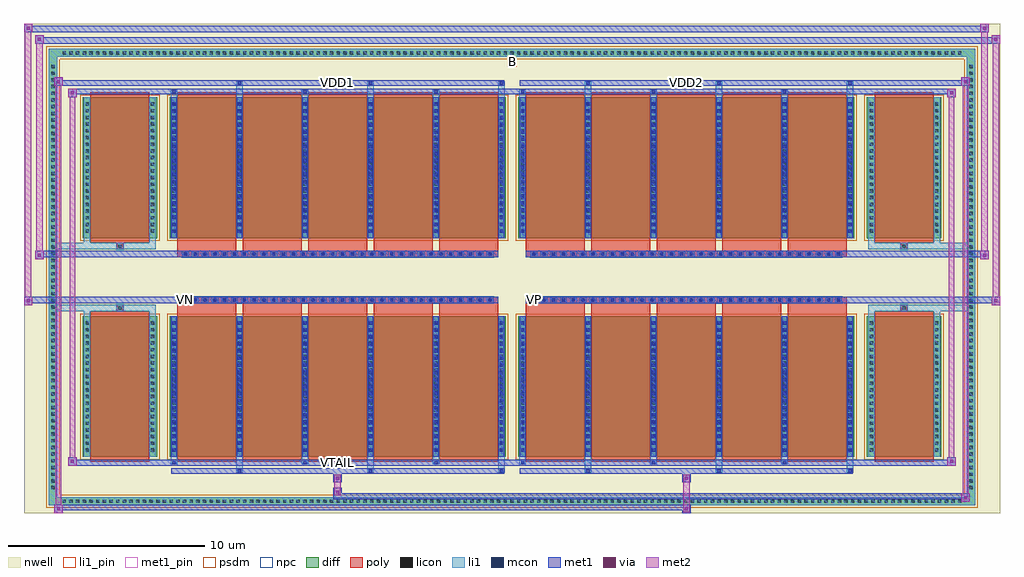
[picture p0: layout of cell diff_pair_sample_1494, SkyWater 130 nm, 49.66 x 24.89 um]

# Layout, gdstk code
import gdstk
lib = gdstk.Library(unit=1e-6, precision=5e-09)
def R(c, l, rs):  # rectangles x0, y0, x1, y1
    for r in rs: c.add(gdstk.rectangle(r[:2], r[2:], *l))
def A(c, l, x, y, w, h, nx, ny, dx, dy):  # array of equal rectangles
    R(c, l, [(x+i*dx, y+j*dy, x+i*dx+w, y+j*dy+h) for i in range(nx) for j in range(ny)])
def P(c, l, *ps):  # polygons
    for p in ps: c.add(gdstk.Polygon(p, *l))
nwell = (64, 20)
diff = (65, 20)
poly = (66, 20)
licon = (66, 44)
li1_pin = (67, 16)
li1 = (67, 20)
mcon = (67, 44)
met1_pin = (68, 16)
met1 = (68, 20)
via = (68, 44)
met2 = (69, 20)
psdm = (94, 20)
npc = (95, 20)

diff_pair_sample_1494 = lib.new_cell('diff_pair_sample_1494')
R(diff_pair_sample_1494, nwell, [(-24.83,-12.01,24.83,12.88), (-22.15,-10.2,-0.01,-0.8), (0.01,-10.2,22.15,-0.8), (-22.15,0.8,-0.01,10.2), (0.01,0.8,22.15,10.2)])
A(diff_pair_sample_1494, diff, -22.985, -11.61, 0.41, 0.41, 135, 2, 0.34, 22.81)
A(diff_pair_sample_1494, diff, -23.56, -10.915, 0.41, 0.41, 1, 64, 0, 0.34)
A(diff_pair_sample_1494, diff, 23.15, -10.915, 0.41, 0.41, 1, 64, 0, 0.34)
R(diff_pair_sample_1494, diff, [(-22.985,-11.61,22.985,-11.2), (-23.56,-10.915,-23.15,10.915), (23.15,-10.915,23.56,10.915), (-21.84,-9.155,-18.06,-1.985), (-17.42,-9.155,-0.32,-1.985), (0.32,-9.155,17.42,-1.985), (18.06,-9.155,21.84,-1.985), (-21.84,1.985,-18.06,9.155), (-17.42,1.985,-0.32,9.155), (0.32,1.985,17.42,9.155), (18.06,1.985,21.84,9.155), (-22.985,11.2,22.985,11.61)])
P(diff_pair_sample_1494, diff, [(23.56,11.61),(-23.56,11.61),(-23.56,-11.2),(-23.15,-11.2),(-23.15,11.2),(23.15,11.2),(23.15,-11.2),(-23.15,-11.2),(-23.56,-11.2),(-23.56,-11.61),(23.56,-11.61)])
A(diff_pair_sample_1494, poly, -17.03, -9.405, 3, 7.67, 5, 2, 3.33, 11.14)
A(diff_pair_sample_1494, poly, 0.71, -9.405, 3, 7.67, 5, 2, 3.33, 11.14)
A(diff_pair_sample_1494, poly, -17.03, -1.735, 3, 0.405, 5, 2, 3.33, 3.065)
A(diff_pair_sample_1494, poly, 0.71, -1.735, 3, 0.405, 5, 2, 3.33, 3.065)
A(diff_pair_sample_1494, poly, -16.785, -1.33, 0.33, 0.33, 32, 2, 0.5, 2.33)
A(diff_pair_sample_1494, poly, 0.955, -1.33, 0.33, 0.33, 32, 2, 0.5, 2.33)
R(diff_pair_sample_1494, poly, [(-21.45,-9.405,-18.45,-1.735), (18.45,-9.405,21.45,-1.735), (-20.115,-1.735,-19.785,-1.405), (-20.115,-1.735,-19.785,-1.405), (19.785,-1.735,20.115,-1.405), (19.785,-1.735,20.115,-1.405), (-17.03,-1.33,-0.71,-1), (0.71,-1.33,17.03,-1), (-17.03,1,-0.71,1.33), (0.71,1,17.03,1.33), (-20.115,1.405,-19.785,1.735), (-20.115,1.405,-19.785,1.735), (19.785,1.405,20.115,1.735), (19.785,1.405,20.115,1.735), (-21.45,1.735,-18.45,9.405), (18.45,1.735,21.45,9.405)])
A(diff_pair_sample_1494, licon, -22.865, -11.49, 0.17, 0.17, 135, 2, 0.34, 22.81)
A(diff_pair_sample_1494, licon, -23.44, -10.795, 0.17, 0.17, 1, 64, 0, 0.34)
A(diff_pair_sample_1494, licon, 23.27, -10.795, 0.17, 0.17, 1, 64, 0, 0.34)
A(diff_pair_sample_1494, licon, -21.7, -8.885, 0.17, 0.17, 1, 20, 0, 0.34)
A(diff_pair_sample_1494, licon, -18.37, -8.885, 0.17, 0.17, 1, 20, 0, 0.34)
A(diff_pair_sample_1494, licon, -17.28, -8.885, 0.17, 0.17, 6, 20, 3.33, 0.34)
A(diff_pair_sample_1494, licon, 0.46, -8.885, 0.17, 0.17, 6, 20, 3.33, 0.34)
A(diff_pair_sample_1494, licon, 18.2, -8.885, 0.17, 0.17, 1, 20, 0, 0.34)
A(diff_pair_sample_1494, licon, 21.53, -8.885, 0.17, 0.17, 1, 20, 0, 0.34)
A(diff_pair_sample_1494, licon, -16.705, -1.25, 0.17, 0.17, 32, 2, 0.5, 2.33)
A(diff_pair_sample_1494, licon, 1.035, -1.25, 0.17, 0.17, 32, 2, 0.5, 2.33)
A(diff_pair_sample_1494, licon, -21.7, 2.255, 0.17, 0.17, 1, 20, 0, 0.34)
A(diff_pair_sample_1494, licon, -18.37, 2.255, 0.17, 0.17, 1, 20, 0, 0.34)
A(diff_pair_sample_1494, licon, -17.28, 2.255, 0.17, 0.17, 6, 20, 3.33, 0.34)
A(diff_pair_sample_1494, licon, 0.46, 2.255, 0.17, 0.17, 6, 20, 3.33, 0.34)
A(diff_pair_sample_1494, licon, 18.2, 2.255, 0.17, 0.17, 1, 20, 0, 0.34)
A(diff_pair_sample_1494, licon, 21.53, 2.255, 0.17, 0.17, 1, 20, 0, 0.34)
R(diff_pair_sample_1494, licon, [(-20.035,-1.655,-19.865,-1.485), (19.865,-1.655,20.035,-1.485), (-20.035,1.485,-19.865,1.655), (19.865,1.485,20.035,1.655)])
R(diff_pair_sample_1494, li1_pin, [(-0.25,10.7,0.25,11.2)])
A(diff_pair_sample_1494, li1, -22.945, -11.57, 0.33, 0.33, 135, 2, 0.34, 22.81)
A(diff_pair_sample_1494, li1, -23.52, -10.875, 0.33, 0.33, 1, 64, 0, 0.34)
A(diff_pair_sample_1494, li1, 23.19, -10.875, 0.33, 0.33, 1, 64, 0, 0.34)
A(diff_pair_sample_1494, li1, -14.03, -9.96, 0.33, 0.805, 3, 2, 6.66, 19.115)
A(diff_pair_sample_1494, li1, -13.95, -9.96, 0.17, 0.17, 3, 2, 6.66, 19.75)
A(diff_pair_sample_1494, li1, 3.71, -9.96, 0.33, 0.805, 3, 2, 6.66, 19.115)
A(diff_pair_sample_1494, li1, 3.79, -9.96, 0.17, 0.17, 3, 2, 6.66, 19.75)
A(diff_pair_sample_1494, li1, -17.36, -9.53, 0.33, 0.375, 3, 2, 6.66, 18.685)
A(diff_pair_sample_1494, li1, -17.28, -9.53, 0.17, 0.17, 3, 2, 6.66, 18.89)
A(diff_pair_sample_1494, li1, 0.38, -9.53, 0.33, 0.375, 3, 2, 6.66, 18.685)
A(diff_pair_sample_1494, li1, 0.46, -9.53, 0.17, 0.17, 3, 2, 6.66, 18.89)
A(diff_pair_sample_1494, li1, -17.36, -9.155, 0.33, 7.17, 6, 2, 3.33, 11.14)
A(diff_pair_sample_1494, li1, 0.38, -9.155, 0.33, 7.17, 6, 2, 3.33, 11.14)
A(diff_pair_sample_1494, li1, -21.78, -8.965, 0.33, 0.33, 1, 20, 0, 0.34)
A(diff_pair_sample_1494, li1, -18.45, -8.965, 0.33, 0.33, 1, 20, 0, 0.34)
A(diff_pair_sample_1494, li1, -17.36, -8.965, 0.33, 0.33, 6, 20, 3.33, 0.34)
A(diff_pair_sample_1494, li1, 0.38, -8.965, 0.33, 0.33, 6, 20, 3.33, 0.34)
A(diff_pair_sample_1494, li1, 18.12, -8.965, 0.33, 0.33, 1, 20, 0, 0.34)
A(diff_pair_sample_1494, li1, 21.45, -8.965, 0.33, 0.33, 1, 20, 0, 0.34)
A(diff_pair_sample_1494, li1, -17.28, -8.895, 0.17, 0.17, 6, 19, 3.33, 0.36)
A(diff_pair_sample_1494, li1, -17.28, -8.895, 0.17, 6.65, 6, 2, 3.33, 11.14)
A(diff_pair_sample_1494, li1, 0.46, -8.895, 0.17, 0.17, 6, 19, 3.33, 0.36)
A(diff_pair_sample_1494, li1, 0.46, -8.895, 0.17, 6.65, 6, 2, 3.33, 11.14)
A(diff_pair_sample_1494, li1, -16.785, -1.33, 0.33, 0.33, 32, 2, 0.5, 2.33)
A(diff_pair_sample_1494, li1, 0.955, -1.33, 0.33, 0.33, 32, 2, 0.5, 2.33)
A(diff_pair_sample_1494, li1, -21.78, 2.175, 0.33, 0.33, 1, 20, 0, 0.34)
A(diff_pair_sample_1494, li1, -18.45, 2.175, 0.33, 0.33, 1, 20, 0, 0.34)
A(diff_pair_sample_1494, li1, -17.36, 2.175, 0.33, 0.33, 6, 20, 3.33, 0.34)
A(diff_pair_sample_1494, li1, 0.38, 2.175, 0.33, 0.33, 6, 20, 3.33, 0.34)
A(diff_pair_sample_1494, li1, 18.12, 2.175, 0.33, 0.33, 1, 20, 0, 0.34)
A(diff_pair_sample_1494, li1, 21.45, 2.175, 0.33, 0.33, 1, 20, 0, 0.34)
A(diff_pair_sample_1494, li1, -17.28, 2.245, 0.17, 0.17, 6, 19, 3.33, 0.36)
A(diff_pair_sample_1494, li1, 0.46, 2.245, 0.17, 0.17, 6, 19, 3.33, 0.36)
R(diff_pair_sample_1494, li1, [(-23.56,-11.61,-23.15,-11.2), (-23.56,-11.61,-23.15,-11.2), (-23.15,-11.61,23.15,-11.2), (23.15,-11.61,23.56,-11.2), (23.15,-11.61,23.56,-11.2), (-23.56,-11.2,-23.15,11.2), (23.15,-11.2,23.56,11.2), (-21.78,-9.155,-21.45,-1.985), (-18.45,-9.155,-18.12,-1.985), (18.12,-9.155,18.45,-1.985), (21.45,-9.155,21.78,-1.985), (-21.78,-1.985,-21.45,-1.405), (-18.45,-1.985,-18.12,-1.405), (18.12,-1.985,18.45,-1.405), (21.45,-1.985,21.78,-1.405), (-23.56,-1.735,-20.115,-1.405), (-21.78,-1.735,-20.115,-1.405), (-20.115,-1.735,-19.785,-1.405), (-19.785,-1.735,-18.12,-1.405), (18.12,-1.735,19.785,-1.405), (19.785,-1.735,20.115,-1.405), (19.785,-1.735,23.56,-1.405), (20.115,-1.735,21.78,-1.405), (-23.56,1.405,-20.115,1.735), (-21.78,1.405,-20.115,1.735), (-21.78,1.405,-21.45,1.985), (-20.115,1.405,-19.785,1.735), (-19.785,1.405,-18.12,1.735), (-18.45,1.405,-18.12,1.985), (18.12,1.405,19.785,1.735), (18.12,1.405,18.45,1.985), (19.785,1.405,20.115,1.735), (19.785,1.405,23.56,1.735), (20.115,1.405,21.78,1.735), (21.45,1.405,21.78,1.985), (-21.78,1.985,-21.45,9.155), (-18.45,1.985,-18.12,9.155), (18.12,1.985,18.45,9.155), (21.45,1.985,21.78,9.155), (-23.56,11.2,-23.15,11.61), (-23.56,11.2,-23.15,11.61), (-23.15,11.2,23.15,11.61), (23.15,11.2,23.56,11.61), (23.15,11.2,23.56,11.61)])
A(diff_pair_sample_1494, mcon, -13.95, -9.96, 0.17, 0.17, 3, 2, 6.66, 19.75)
A(diff_pair_sample_1494, mcon, 3.79, -9.96, 0.17, 0.17, 3, 2, 6.66, 19.75)
A(diff_pair_sample_1494, mcon, -17.28, -9.53, 0.17, 0.17, 3, 2, 6.66, 18.89)
A(diff_pair_sample_1494, mcon, 0.46, -9.53, 0.17, 0.17, 3, 2, 6.66, 18.89)
A(diff_pair_sample_1494, mcon, -17.28, -8.895, 0.17, 0.17, 6, 19, 3.33, 0.36)
A(diff_pair_sample_1494, mcon, 0.46, -8.895, 0.17, 0.17, 6, 19, 3.33, 0.36)
A(diff_pair_sample_1494, mcon, -16.705, -1.25, 0.17, 0.17, 32, 2, 0.5, 2.33)
A(diff_pair_sample_1494, mcon, 1.035, -1.25, 0.17, 0.17, 32, 2, 0.5, 2.33)
A(diff_pair_sample_1494, mcon, -17.28, 2.245, 0.17, 0.17, 6, 19, 3.33, 0.36)
A(diff_pair_sample_1494, mcon, 0.46, 2.245, 0.17, 0.17, 6, 19, 3.33, 0.36)
R(diff_pair_sample_1494, met1_pin, [(-9.005,-9.57,-8.735,-9.3), (-16.755,-1.29,-16.485,-1.02), (0.985,-1.29,1.255,-1.02), (-9.005,9.75,-8.735,10.02), (8.735,9.75,9.005,10.02)])
A(diff_pair_sample_1494, met1, -14.01, -10.02, 0.29, 0.29, 3, 2, 6.66, 19.75)
A(diff_pair_sample_1494, met1, 3.73, -10.02, 0.29, 0.29, 3, 2, 6.66, 19.75)
A(diff_pair_sample_1494, met1, -17.34, -9.59, 0.29, 0.29, 3, 2, 6.66, 18.89)
A(diff_pair_sample_1494, met1, 0.4, -9.59, 0.29, 0.29, 3, 2, 6.66, 18.89)
A(diff_pair_sample_1494, met1, -17.34, -9.155, 0.29, 7.17, 6, 2, 3.33, 11.14)
A(diff_pair_sample_1494, met1, 0.4, -9.155, 0.29, 7.17, 6, 2, 3.33, 11.14)
A(diff_pair_sample_1494, met1, -17.34, -8.955, 0.29, 0.29, 6, 19, 3.33, 0.36)
A(diff_pair_sample_1494, met1, 0.4, -8.955, 0.29, 0.29, 6, 19, 3.33, 0.36)
A(diff_pair_sample_1494, met1, -16.765, -1.31, 0.29, 0.29, 32, 2, 0.5, 2.33)
A(diff_pair_sample_1494, met1, 0.975, -1.31, 0.29, 0.29, 32, 2, 0.5, 2.33)
A(diff_pair_sample_1494, met1, -17.34, 2.185, 0.29, 0.29, 6, 19, 3.33, 0.36)
A(diff_pair_sample_1494, met1, 0.4, 2.185, 0.29, 0.29, 6, 19, 3.33, 0.36)
R(diff_pair_sample_1494, met1, [(-23.29,-12.01,-22.86,-11.58), (8.655,-12.01,9.085,-11.58), (-23.29,-11.87,9.085,-11.58), (22.86,-11.44,23.29,-11.01), (-9.085,-11.3,23.29,-11.01), (-9.085,-11.16,-8.655,-10.73), (-9.085,-10.45,-8.655,-10.02), (8.655,-10.45,9.085,-10.02), (-17.34,-10.02,-0.4,-9.73), (0.4,-10.02,17.34,-9.73), (-22.58,-9.59,-22.15,-9.16), (-22.58,-9.59,-17.34,-9.3), (-17.34,-9.59,-0.4,-9.3), (-0.4,-9.59,0.4,-9.3), (0.4,-9.59,17.34,-9.3), (17.34,-9.59,22.58,-9.3), (22.15,-9.59,22.58,-9.16), (-24.83,-1.43,-24.4,-1), (24.4,-1.43,24.83,-1), (-24.83,-1.33,-0.71,-1), (-17.03,-1.33,-0.71,-1), (0.71,-1.33,17.03,-1), (0.71,-1.33,24.83,-1), (-24.26,0.9,-23.83,1.33), (23.83,0.9,24.26,1.33), (-24.26,1,-17.03,1.33), (-17.03,1,-0.71,1.33), (0.71,1,17.03,1.33), (17.03,1,24.26,1.33), (-22.58,9.16,-22.15,9.59), (22.15,9.16,22.58,9.59), (-22.58,9.3,-17.34,9.59), (-17.34,9.3,-0.4,9.59), (-0.4,9.3,0.4,9.59), (0.4,9.3,17.34,9.59), (17.34,9.3,22.58,9.59), (-23.29,9.73,-22.86,10.16), (-23.29,9.73,-17.34,10.02), (-17.34,9.73,-0.4,10.02), (0.4,9.73,17.34,10.02), (17.34,9.73,23.29,10.02), (22.86,9.73,23.29,10.16), (-24.26,11.88,-23.83,12.31), (-24.26,11.88,-22.15,12.21), (-22.15,11.88,22.15,12.21), (22.15,11.88,24.83,12.21), (24.4,11.88,24.83,12.31), (-24.83,12.45,-24.4,12.88), (-24.83,12.45,-22.15,12.78), (-22.15,12.45,22.15,12.78), (22.15,12.45,24.26,12.78), (23.83,12.45,24.26,12.88)])
R(diff_pair_sample_1494, via, [(-23.15,-11.87,-23,-11.72), (8.795,-11.87,8.945,-11.72), (23,-11.3,23.15,-11.15), (-8.945,-11.02,-8.795,-10.87), (-8.945,-10.31,-8.795,-10.16), (8.795,-10.31,8.945,-10.16), (-22.44,-9.45,-22.29,-9.3), (22.29,-9.45,22.44,-9.3), (-24.69,-1.29,-24.54,-1.14), (24.54,-1.29,24.69,-1.14), (-24.12,1.04,-23.97,1.19), (23.97,1.04,24.12,1.19), (-22.44,9.3,-22.29,9.45), (22.29,9.3,22.44,9.45), (-23.15,9.87,-23,10.02), (23,9.87,23.15,10.02), (-24.12,12.02,-23.97,12.17), (24.54,12.02,24.69,12.17), (-24.69,12.59,-24.54,12.74), (23.97,12.59,24.12,12.74)])
R(diff_pair_sample_1494, met2, [(-23.29,-12.01,-22.86,-11.58), (-23.22,-12.01,-22.93,10.16), (-22.93,-12.01,-22.86,-11.58), (-23.24,-11.96,-22.91,-11.63), (8.705,-11.96,9.035,-11.63), (8.705,-11.63,9.035,-10.4), (22.86,-11.44,23.29,-11.01), (22.93,-11.44,23.22,10.16), (23.22,-11.44,23.29,-11.01), (22.91,-11.39,23.24,-11.06), (-9.035,-11.11,-8.705,-10.78), (-9.035,-10.78,-8.705,-10.4), (-9.035,-10.4,-8.705,-10.07), (8.705,-10.4,9.035,-10.07), (-22.58,-9.59,-22.15,-9.16), (-22.51,-9.59,-22.22,9.59), (-22.22,-9.59,-22.15,-9.16), (22.15,-9.59,22.58,-9.16), (22.22,-9.59,22.51,9.59), (22.51,-9.59,22.58,-9.16), (-22.53,-9.54,-22.2,-9.21), (22.2,-9.54,22.53,-9.21), (-24.83,-1.43,-24.4,-1), (-24.78,-1.43,-24.45,12.88), (-24.45,-1.43,-24.4,-1), (24.4,-1.43,24.83,-1), (24.45,-1.43,24.78,12.31), (24.78,-1.43,24.83,-1), (-24.78,-1.38,-24.45,-1.05), (24.45,-1.38,24.78,-1.05), (-24.26,0.9,-23.83,1.33), (-24.21,0.9,-23.88,12.31), (-23.88,0.9,-23.83,1.33), (23.83,0.9,24.26,1.33), (23.88,0.9,24.21,12.88), (24.21,0.9,24.26,1.33), (-24.21,0.95,-23.88,1.28), (23.88,0.95,24.21,1.28), (-22.58,9.16,-22.15,9.59), (-22.22,9.16,-22.15,9.59), (22.15,9.16,22.58,9.59), (22.51,9.16,22.58,9.59), (-22.53,9.21,-22.2,9.54), (22.2,9.21,22.53,9.54), (-23.29,9.73,-22.86,10.16), (-22.93,9.73,-22.86,10.16), (22.86,9.73,23.29,10.16), (23.22,9.73,23.29,10.16), (-23.24,9.78,-22.91,10.11), (22.91,9.78,23.24,10.11), (-24.26,11.88,-23.83,12.31), (-23.88,11.88,-23.83,12.31), (24.4,11.88,24.83,12.31), (24.78,11.88,24.83,12.31), (-24.21,11.93,-23.88,12.26), (24.45,11.93,24.78,12.26), (-24.83,12.45,-24.4,12.88), (-24.45,12.45,-24.4,12.88), (23.83,12.45,24.26,12.88), (24.21,12.45,24.26,12.88), (-24.78,12.5,-24.45,12.83), (23.88,12.5,24.21,12.83)])
R(diff_pair_sample_1494, psdm, [(-21.97,-9.285,-17.93,-1.855), (-17.55,-9.285,-0.19,-1.855), (0.19,-9.285,17.55,-1.855), (17.93,-9.285,21.97,-1.855), (-21.97,1.855,-17.93,9.285), (-17.55,1.855,-0.19,9.285), (0.19,1.855,17.55,9.285), (17.93,1.855,21.97,9.285)])
P(diff_pair_sample_1494, psdm, [(23.69,11.74),(-23.69,11.74),(-23.69,-11.07),(-23.02,-11.07),(-23.02,11.07),(23.02,11.07),(23.02,-11.07),(-23.02,-11.07),(-23.69,-11.07),(-23.69,-11.74),(23.69,-11.74)])
A(diff_pair_sample_1494, npc, -16.805, -1.35, 0.37, 0.37, 32, 2, 0.5, 2.33)
A(diff_pair_sample_1494, npc, 0.935, -1.35, 0.37, 0.37, 32, 2, 0.5, 2.33)
R(diff_pair_sample_1494, npc, [(-20.135,-1.755,-19.765,-1.385), (19.765,-1.755,20.135,-1.385), (-16.805,-1.35,-15.935,-0.98), (-16.805,-1.35,-15.935,-0.98), (-16.305,-1.35,-15.435,-0.98), (-16.305,-1.35,-15.435,-0.98), (-15.805,-1.35,-14.935,-0.98), (-15.805,-1.35,-14.935,-0.98), (-15.305,-1.35,-14.435,-0.98), (-15.305,-1.35,-14.435,-0.98), (-14.805,-1.35,-13.935,-0.98), (-14.805,-1.35,-13.935,-0.98), (-14.305,-1.35,-13.435,-0.98), (-14.305,-1.35,-13.435,-0.98), (-13.805,-1.35,-12.935,-0.98), (-13.805,-1.35,-12.935,-0.98), (-13.305,-1.35,-12.435,-0.98), (-13.305,-1.35,-12.435,-0.98), (-12.805,-1.35,-11.935,-0.98), (-12.805,-1.35,-11.935,-0.98), (-12.305,-1.35,-11.435,-0.98), (-12.305,-1.35,-11.435,-0.98), (-11.805,-1.35,-10.935,-0.98), (-11.805,-1.35,-10.935,-0.98), (-11.305,-1.35,-10.435,-0.98), (-11.305,-1.35,-10.435,-0.98), (-10.805,-1.35,-9.935,-0.98), (-10.805,-1.35,-9.935,-0.98), (-10.305,-1.35,-9.435,-0.98), (-10.305,-1.35,-9.435,-0.98), (-9.805,-1.35,-8.935,-0.98), (-9.805,-1.35,-8.935,-0.98), (-9.305,-1.35,-8.435,-0.98), (-9.305,-1.35,-8.435,-0.98), (-8.805,-1.35,-7.935,-0.98), (-8.805,-1.35,-7.935,-0.98), (-8.305,-1.35,-7.435,-0.98), (-8.305,-1.35,-7.435,-0.98), (-7.805,-1.35,-6.935,-0.98), (-7.805,-1.35,-6.935,-0.98), (-7.305,-1.35,-6.435,-0.98), (-7.305,-1.35,-6.435,-0.98), (-6.805,-1.35,-5.935,-0.98), (-6.805,-1.35,-5.935,-0.98), (-6.305,-1.35,-5.435,-0.98), (-6.305,-1.35,-5.435,-0.98), (-5.805,-1.35,-4.935,-0.98), (-5.805,-1.35,-4.935,-0.98), (-5.305,-1.35,-4.435,-0.98), (-5.305,-1.35,-4.435,-0.98), (-4.805,-1.35,-3.935,-0.98), (-4.805,-1.35,-3.935,-0.98), (-4.305,-1.35,-3.435,-0.98), (-4.305,-1.35,-3.435,-0.98), (-3.805,-1.35,-2.935,-0.98), (-3.805,-1.35,-2.935,-0.98), (-3.305,-1.35,-2.435,-0.98), (-3.305,-1.35,-2.435,-0.98), (-2.805,-1.35,-1.935,-0.98), (-2.805,-1.35,-1.935,-0.98), (-2.305,-1.35,-1.435,-0.98), (-2.305,-1.35,-1.435,-0.98), (-1.805,-1.35,-0.935,-0.98), (-1.805,-1.35,-0.935,-0.98), (0.935,-1.35,1.805,-0.98), (0.935,-1.35,1.805,-0.98), (1.435,-1.35,2.305,-0.98), (1.435,-1.35,2.305,-0.98), (1.935,-1.35,2.805,-0.98), (1.935,-1.35,2.805,-0.98), (2.435,-1.35,3.305,-0.98), (2.435,-1.35,3.305,-0.98), (2.935,-1.35,3.805,-0.98), (2.935,-1.35,3.805,-0.98), (3.435,-1.35,4.305,-0.98), (3.435,-1.35,4.305,-0.98), (3.935,-1.35,4.805,-0.98), (3.935,-1.35,4.805,-0.98), (4.435,-1.35,5.305,-0.98), (4.435,-1.35,5.305,-0.98), (4.935,-1.35,5.805,-0.98), (4.935,-1.35,5.805,-0.98), (5.435,-1.35,6.305,-0.98), (5.435,-1.35,6.305,-0.98), (5.935,-1.35,6.805,-0.98), (5.935,-1.35,6.805,-0.98), (6.435,-1.35,7.305,-0.98), (6.435,-1.35,7.305,-0.98), (6.935,-1.35,7.805,-0.98), (6.935,-1.35,7.805,-0.98), (7.435,-1.35,8.305,-0.98), (7.435,-1.35,8.305,-0.98), (7.935,-1.35,8.805,-0.98), (7.935,-1.35,8.805,-0.98), (8.435,-1.35,9.305,-0.98), (8.435,-1.35,9.305,-0.98), (8.935,-1.35,9.805,-0.98), (8.935,-1.35,9.805,-0.98), (9.435,-1.35,10.305,-0.98), (9.435,-1.35,10.305,-0.98), (9.935,-1.35,10.805,-0.98), (9.935,-1.35,10.805,-0.98), (10.435,-1.35,11.305,-0.98), (10.435,-1.35,11.305,-0.98), (10.935,-1.35,11.805,-0.98), (10.935,-1.35,11.805,-0.98), (11.435,-1.35,12.305,-0.98), (11.435,-1.35,12.305,-0.98), (11.935,-1.35,12.805,-0.98), (11.935,-1.35,12.805,-0.98), (12.435,-1.35,13.305,-0.98), (12.435,-1.35,13.305,-0.98), (12.935,-1.35,13.805,-0.98), (12.935,-1.35,13.805,-0.98), (13.435,-1.35,14.305,-0.98), (13.435,-1.35,14.305,-0.98), (13.935,-1.35,14.805,-0.98), (13.935,-1.35,14.805,-0.98), (14.435,-1.35,15.305,-0.98), (14.435,-1.35,15.305,-0.98), (14.935,-1.35,15.805,-0.98), (14.935,-1.35,15.805,-0.98), (15.435,-1.35,16.305,-0.98), (15.435,-1.35,16.305,-0.98), (15.935,-1.35,16.805,-0.98), (15.935,-1.35,16.805,-0.98), (-16.805,0.98,-15.935,1.35), (-16.805,0.98,-15.935,1.35), (-16.305,0.98,-15.435,1.35), (-16.305,0.98,-15.435,1.35), (-15.805,0.98,-14.935,1.35), (-15.805,0.98,-14.935,1.35), (-15.305,0.98,-14.435,1.35), (-15.305,0.98,-14.435,1.35), (-14.805,0.98,-13.935,1.35), (-14.805,0.98,-13.935,1.35), (-14.305,0.98,-13.435,1.35), (-14.305,0.98,-13.435,1.35), (-13.805,0.98,-12.935,1.35), (-13.805,0.98,-12.935,1.35), (-13.305,0.98,-12.435,1.35), (-13.305,0.98,-12.435,1.35), (-12.805,0.98,-11.935,1.35), (-12.805,0.98,-11.935,1.35), (-12.305,0.98,-11.435,1.35), (-12.305,0.98,-11.435,1.35), (-11.805,0.98,-10.935,1.35), (-11.805,0.98,-10.935,1.35), (-11.305,0.98,-10.435,1.35), (-11.305,0.98,-10.435,1.35), (-10.805,0.98,-9.935,1.35), (-10.805,0.98,-9.935,1.35), (-10.305,0.98,-9.435,1.35), (-10.305,0.98,-9.435,1.35), (-9.805,0.98,-8.935,1.35), (-9.805,0.98,-8.935,1.35), (-9.305,0.98,-8.435,1.35), (-9.305,0.98,-8.435,1.35), (-8.805,0.98,-7.935,1.35), (-8.805,0.98,-7.935,1.35), (-8.305,0.98,-7.435,1.35), (-8.305,0.98,-7.435,1.35), (-7.805,0.98,-6.935,1.35), (-7.805,0.98,-6.935,1.35), (-7.305,0.98,-6.435,1.35), (-7.305,0.98,-6.435,1.35), (-6.805,0.98,-5.935,1.35), (-6.805,0.98,-5.935,1.35), (-6.305,0.98,-5.435,1.35), (-6.305,0.98,-5.435,1.35), (-5.805,0.98,-4.935,1.35), (-5.805,0.98,-4.935,1.35), (-5.305,0.98,-4.435,1.35), (-5.305,0.98,-4.435,1.35), (-4.805,0.98,-3.935,1.35), (-4.805,0.98,-3.935,1.35), (-4.305,0.98,-3.435,1.35), (-4.305,0.98,-3.435,1.35), (-3.805,0.98,-2.935,1.35), (-3.805,0.98,-2.935,1.35), (-3.305,0.98,-2.435,1.35), (-3.305,0.98,-2.435,1.35), (-2.805,0.98,-1.935,1.35), (-2.805,0.98,-1.935,1.35), (-2.305,0.98,-1.435,1.35), (-2.305,0.98,-1.435,1.35), (-1.805,0.98,-0.935,1.35), (-1.805,0.98,-0.935,1.35), (0.935,0.98,1.805,1.35), (0.935,0.98,1.805,1.35), (1.435,0.98,2.305,1.35), (1.435,0.98,2.305,1.35), (1.935,0.98,2.805,1.35), (1.935,0.98,2.805,1.35), (2.435,0.98,3.305,1.35), (2.435,0.98,3.305,1.35), (2.935,0.98,3.805,1.35), (2.935,0.98,3.805,1.35), (3.435,0.98,4.305,1.35), (3.435,0.98,4.305,1.35), (3.935,0.98,4.805,1.35), (3.935,0.98,4.805,1.35), (4.435,0.98,5.305,1.35), (4.435,0.98,5.305,1.35), (4.935,0.98,5.805,1.35), (4.935,0.98,5.805,1.35), (5.435,0.98,6.305,1.35), (5.435,0.98,6.305,1.35), (5.935,0.98,6.805,1.35), (5.935,0.98,6.805,1.35), (6.435,0.98,7.305,1.35), (6.435,0.98,7.305,1.35), (6.935,0.98,7.805,1.35), (6.935,0.98,7.805,1.35), (7.435,0.98,8.305,1.35), (7.435,0.98,8.305,1.35), (7.935,0.98,8.805,1.35), (7.935,0.98,8.805,1.35), (8.435,0.98,9.305,1.35), (8.435,0.98,9.305,1.35), (8.935,0.98,9.805,1.35), (8.935,0.98,9.805,1.35), (9.435,0.98,10.305,1.35), (9.435,0.98,10.305,1.35), (9.935,0.98,10.805,1.35), (9.935,0.98,10.805,1.35), (10.435,0.98,11.305,1.35), (10.435,0.98,11.305,1.35), (10.935,0.98,11.805,1.35), (10.935,0.98,11.805,1.35), (11.435,0.98,12.305,1.35), (11.435,0.98,12.305,1.35), (11.935,0.98,12.805,1.35), (11.935,0.98,12.805,1.35), (12.435,0.98,13.305,1.35), (12.435,0.98,13.305,1.35), (12.935,0.98,13.805,1.35), (12.935,0.98,13.805,1.35), (13.435,0.98,14.305,1.35), (13.435,0.98,14.305,1.35), (13.935,0.98,14.805,1.35), (13.935,0.98,14.805,1.35), (14.435,0.98,15.305,1.35), (14.435,0.98,15.305,1.35), (14.935,0.98,15.805,1.35), (14.935,0.98,15.805,1.35), (15.435,0.98,16.305,1.35), (15.435,0.98,16.305,1.35), (15.935,0.98,16.805,1.35), (15.935,0.98,16.805,1.35), (-20.135,1.385,-19.765,1.755), (19.765,1.385,20.135,1.755)])
diff_pair_sample_1494.add(gdstk.Label('VTAIL', (-8.87,-9.435), layer=68, texttype=5))
diff_pair_sample_1494.add(gdstk.Label('VN', (-16.62,-1.155), layer=68, texttype=5))
diff_pair_sample_1494.add(gdstk.Label('VP', (1.12,-1.155), layer=68, texttype=5))
diff_pair_sample_1494.add(gdstk.Label('B', (0,10.95), layer=67, texttype=5))
diff_pair_sample_1494.add(gdstk.Label('VDD2', (8.87,9.885), layer=68, texttype=5))
diff_pair_sample_1494.add(gdstk.Label('VDD1', (-8.87,9.885), layer=68, texttype=5))

lib.write_gds('diff_pair_sample_1494.gds')
